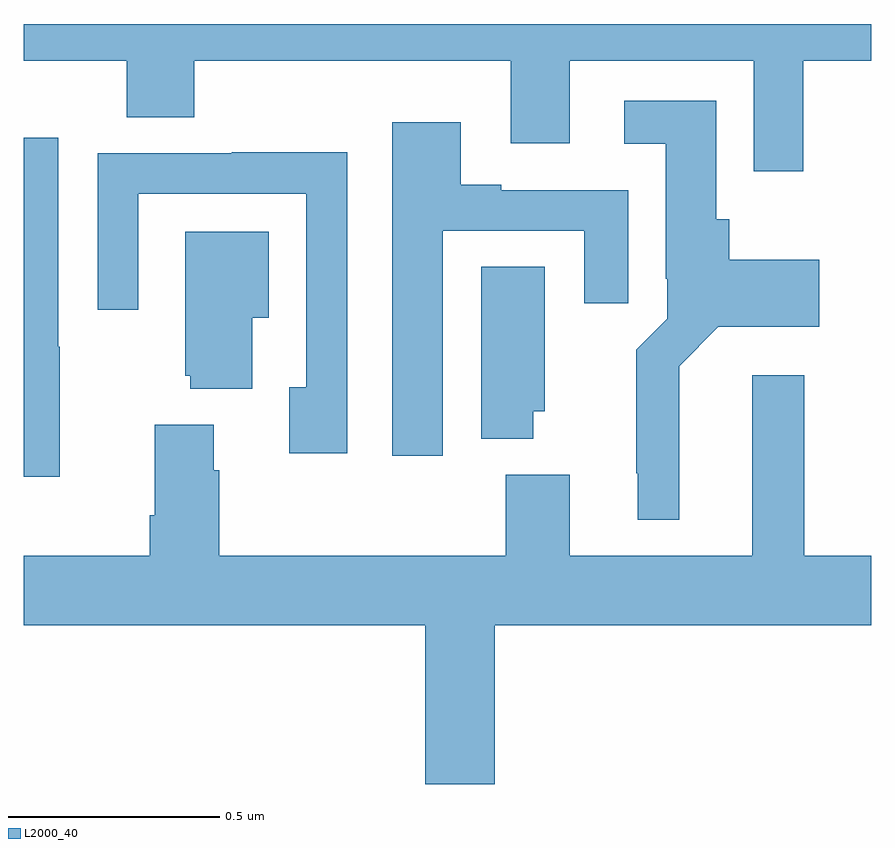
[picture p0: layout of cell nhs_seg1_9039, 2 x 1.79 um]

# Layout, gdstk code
import gdstk
lib = gdstk.Library(unit=1e-6, precision=1e-09)
def P(c, l, *ps):  # polygons
    for p in ps: c.add(gdstk.Polygon(p, *l))
L2000_40 = (2000, 40)

nhs_seg1_9039 = lib.new_cell('nhs_seg1_9039')
P(nhs_seg1_9039, L2000_40, [(225.839,505.112),(226,505.112),(226,505.199),(224,505.199),(224,505.112),(224.243,505.112),(224.243,504.979),(224.403,504.979),(224.403,505.112),(225.149,505.112),(225.149,504.918),(225.289,504.918),(225.289,505.112),(225.723,505.112),(225.723,504.852),(225.839,504.852)],
  [(225.547,504.392),(225.639,504.485),(225.877,504.485),(225.877,504.643),(225.665,504.643),(225.665,504.738),(225.634,504.738),(225.634,505.018),(225.417,505.018),(225.417,504.917),(225.515,504.917),(225.515,504.598),(225.519,504.598),(225.519,504.504),(225.445,504.43),(225.445,504.139),(225.449,504.139),(225.449,504.029),(225.547,504.029)],
  [(224.989,504.711),(225.323,504.711),(225.323,504.54),(225.427,504.54),(225.427,504.807),(225.127,504.807),(225.127,504.82),(225.031,504.82),(225.031,504.967),(224.87,504.967),(224.87,504.18),(224.989,504.18)],
  [(224.085,504.437),(224.082,504.437),(224.082,504.931),(224,504.931),(224,504.131),(224.085,504.131)],
  [(224.763,504.896),(224.491,504.896),(224.491,504.894),(224.175,504.894),(224.175,504.525),(224.271,504.525),(224.271,504.798),(224.667,504.798),(224.667,504.342),(224.627,504.342),(224.627,504.186),(224.763,504.186)],
  [(224.539,504.506),(224.578,504.506),(224.578,504.709),(224.381,504.709),(224.381,504.369),(224.393,504.369),(224.393,504.338),(224.539,504.338)],
  [(225.202,504.285),(225.229,504.285),(225.229,504.626),(225.08,504.626),(225.08,504.221),(225.202,504.221)],
  [(225.112,503.78),(226,503.78),(226,503.944),(225.842,503.944),(225.842,504.37),(225.719,504.37),(225.719,503.944),(225.289,503.944),(225.289,504.136),(225.137,504.136),(225.137,503.944),(224.462,503.944),(224.462,504.146),(224.449,504.146),(224.449,504.253),(224.309,504.253),(224.309,504.04),(224.297,504.04),(224.297,503.944),(224,503.944),(224,503.78),(224.948,503.78),(224.948,503.406),(225.112,503.406)])

lib.write_gds('nhs_seg1_9039.gds')
